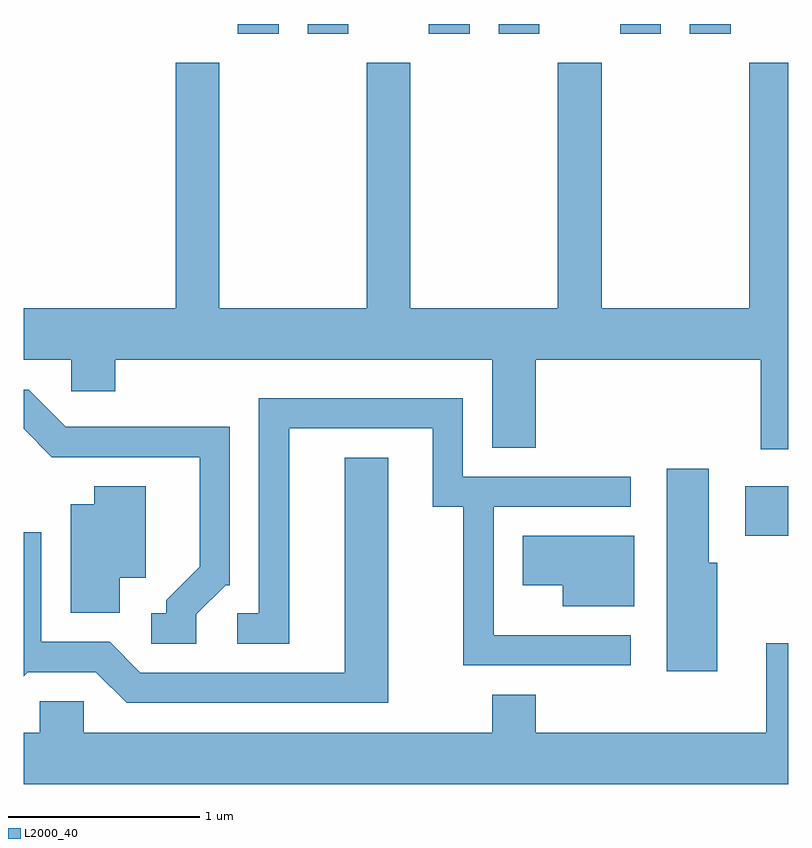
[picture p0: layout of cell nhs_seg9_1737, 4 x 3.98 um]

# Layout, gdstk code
import gdstk
lib = gdstk.Library(unit=1e-6, precision=1e-09)
def R(c, l, rs):  # rectangles x0, y0, x1, y1
    for r in rs: c.add(gdstk.rectangle(r[:2], r[2:], *l))
def P(c, l, *ps):  # polygons
    for p in ps: c.add(gdstk.Polygon(p, *l))
L2000_40 = (2000, 40)

nhs_seg9_1737 = lib.new_cell('nhs_seg9_1737')
R(nhs_seg9_1737, L2000_40, [(239.386,2019.756,239.611,2020.014), (236.731,2022.381,236.944,2022.432), (237.096,2022.381,237.309,2022.432), (237.731,2022.381,237.944,2022.432), (238.096,2022.381,238.309,2022.432), (238.731,2022.381,238.944,2022.432), (239.096,2022.381,239.309,2022.432)])
P(nhs_seg9_1737, L2000_40, [(238.061,2020.216),(238.289,2020.216),(238.289,2020.676),(239.466,2020.676),(239.466,2020.206),(239.611,2020.206),(239.611,2022.229),(239.406,2022.229),(239.406,2020.944),(238.634,2020.944),(238.634,2022.229),(238.406,2022.229),(238.406,2020.944),(237.634,2020.944),(237.634,2022.229),(237.406,2022.229),(237.406,2020.944),(236.634,2020.944),(236.634,2022.229),(236.406,2022.229),(236.406,2020.944),(235.611,2020.944),(235.611,2020.676),(235.861,2020.676),(235.861,2020.511),(236.089,2020.511),(236.089,2020.676),(238.061,2020.676)],
  [(236.514,2019.344),(236.667,2019.496),(236.689,2019.496),(236.689,2020.324),(235.832,2020.324),(235.637,2020.519),(235.611,2020.519),(235.611,2020.314),(235.759,2020.166),(236.531,2020.166),(236.531,2019.592),(236.356,2019.417),(236.356,2019.349),(236.278,2019.349),(236.278,2019.191),(236.514,2019.191)],
  [(238.788,2019.234),(238.069,2019.234),(238.069,2019.906),(238.788,2019.906),(238.788,2020.064),(237.909,2020.064),(237.909,2020.474),(236.841,2020.474),(236.841,2019.349),(236.728,2019.349),(236.728,2019.191),(236.999,2019.191),(236.999,2020.316),(237.751,2020.316),(237.751,2019.906),(237.911,2019.906),(237.911,2019.076),(238.788,2019.076)],
  [(237.519,2020.164),(237.291,2020.164),(237.291,2019.039),(236.222,2019.039),(236.062,2019.199),(235.704,2019.199),(235.704,2019.773),(235.611,2019.773),(235.611,2019.02),(235.632,2019.041),(235.989,2019.041),(236.149,2018.881),(237.519,2018.881)],
  [(239.239,2019.614),(239.194,2019.614),(239.194,2020.104),(238.976,2020.104),(238.976,2019.046),(239.239,2019.046)],
  [(236.114,2019.536),(236.249,2019.536),(236.249,2020.014),(235.981,2020.014),(235.981,2019.919),(235.856,2019.919),(235.856,2019.351),(236.114,2019.351)],
  [(238.804,2019.754),(238.221,2019.754),(238.221,2019.496),(238.431,2019.496),(238.431,2019.386),(238.804,2019.386)],
  [(239.611,2019.193),(239.496,2019.193),(239.496,2018.724),(238.289,2018.724),(238.289,2018.924),(238.061,2018.924),(238.061,2018.724),(235.924,2018.724),(235.924,2018.889),(235.696,2018.889),(235.696,2018.724),(235.611,2018.724),(235.611,2018.456),(239.611,2018.456)])

lib.write_gds('nhs_seg9_1737.gds')
